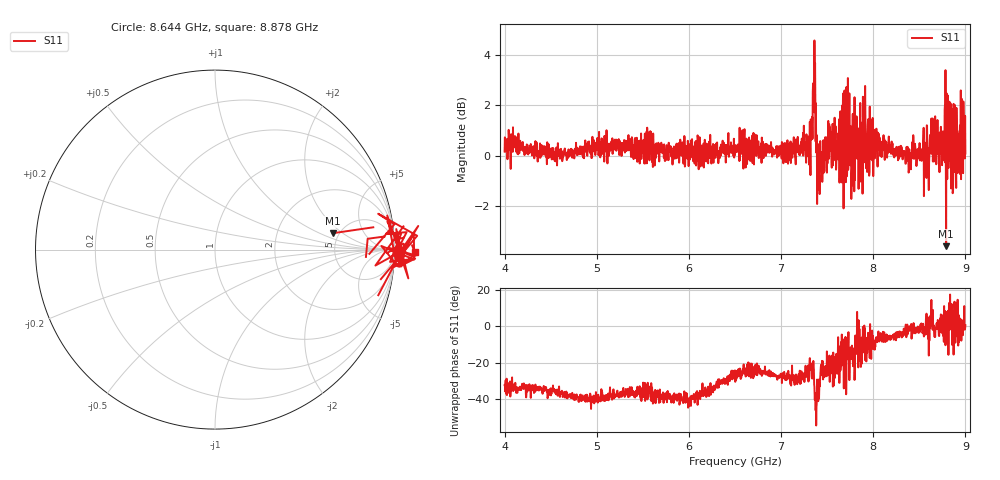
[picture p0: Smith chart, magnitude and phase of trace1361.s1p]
! Created with skrf 1.8.0 (http://scikit-rf.org).
# Hz S RI R 50.0
!freq ReS11 ImS11
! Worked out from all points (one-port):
!   1601 points, 4 GHz to 9 GHz, reference 50 ohm
!   lowest |S11| = -3.6 dB at 8.791 GHz (marker M1), VSWR 4.91, Z = 221 + j71.5 ohm
!   |S11| at or under -10 dB: nowhere
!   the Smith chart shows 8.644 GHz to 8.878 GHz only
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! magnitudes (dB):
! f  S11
! 4 GHz  0.2
! 4.625 GHz  -0.2
! 5.25 GHz  0.6
! 5.875 GHz  0.1
! 6.5 GHz  0.0
! 7.125 GHz  0.2
! 7.294 GHz  0.6
! 7.316 GHz  0.2
! 7.347 GHz  2.9
! 7.369 GHz  3.7
! 7.397 GHz  -1.2
! 7.416 GHz  -0.8
! 7.516 GHz  -0.1
! 7.609 GHz  0.0
! 7.669 GHz  1.4
! 7.75 GHz  -0.4
! 7.769 GHz  -0.5
! 7.8 GHz  -1.0
! 7.894 GHz  -0.2
! 8.375 GHz  -0.2
! 8.6 GHz  -0.8
! 8.656 GHz  1.0
! 8.766 GHz  0.7
! 8.791 GHz  -3.6
! 8.819 GHz  0.5
! 8.869 GHz  -0.5
! 8.972 GHz  1.0
! 9 GHz  0.1
